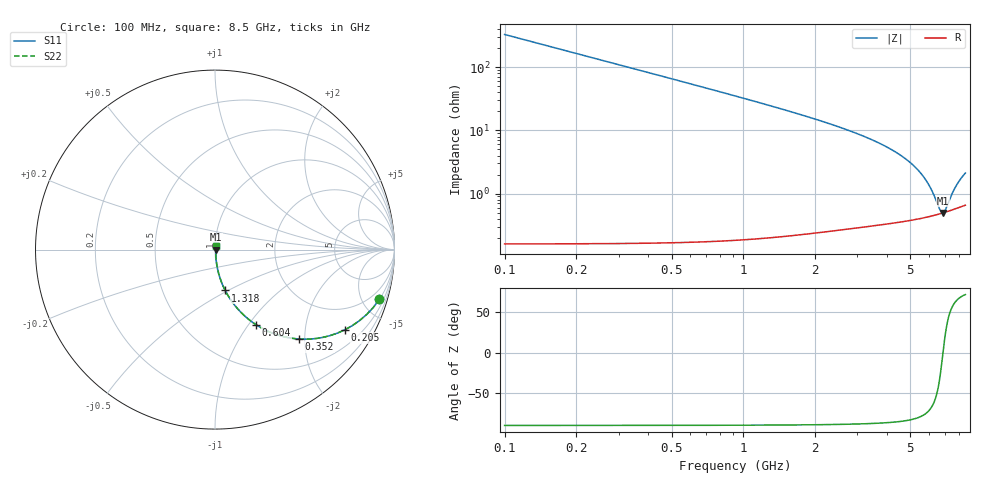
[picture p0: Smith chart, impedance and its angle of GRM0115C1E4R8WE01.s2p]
!Murata Part Number: GRM0115C1E4R8WE01
!These Parameters are Measured in Series Mode Connection
!Data Generated on Mar 30, 2021
!  o--ll--o
!Port1  Port2
!  o------o
!Operation Temp=25[degC], DC Bias Voltage=0[V]
!Freq. Start=100[MHz] Stop=9[GHz] 401[Steps]
# Hz S RI R 50
!Freq.(Hz) S11(Real) S11(Imag) S21(Real) S21(Imag) S12(Real) S12(Imag) S22(Real) S22(Imag)
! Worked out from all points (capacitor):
!   401 points, 100 MHz to 8.5 GHz, reference 50 ohm
!   read as one part in series: C = 4.8 pF near 142 MHz
!   lowest |Z| = 492 mohm at 6.82 GHz (marker M1)
!   series resonance near 6.848 GHz, so ESL is about 110 pH
!   S11 on the Smith chart (normalised r, x): 100 MHz: 1.00, -6.63; 205 MHz: 1.00, -3.23; 352 MHz: 1.00, -1.88; 604 MHz: 1.00, -1.09; 1.318 GHz: 1.00, -0.48; 8.5 GHz: 1.01, +0.04
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1e8  0.9165 -0.2764  0.0835 0.2764  0.0835 0.2764  0.9165 -0.2764
2.05e8  0.7229 -0.4471  0.2771 0.4471  0.2771 0.4471  0.7229 -0.4471
2.68e8  0.6039 -0.4884  0.3961 0.4884  0.3961 0.4884  0.6039 -0.4884
3.52e8  0.4688 -0.4982  0.5312 0.4982  0.5312 0.4982  0.4688 -0.4982
4.78e8  0.3229 -0.4664  0.6771 0.4664  0.6771 0.4664  0.3229 -0.4664
6.04e8  0.2293 -0.4188  0.7707 0.4188  0.7707 0.4188  0.2293 -0.4188
8.98e8  0.1173 -0.3193  0.8827 0.3193  0.8827 0.3193  0.1173 -0.3193
1.318e9  0.0568 -0.2274  0.9432 0.2274  0.9432 0.2274  0.0568 -0.2274
1.507e9  0.0436 -0.1992  0.9564 0.1992  0.9564 0.1992  0.0436 -0.1992
2.914e9  0.0112 -0.0912  0.9888 0.0912  0.9888 0.0912  0.0112 -0.0912
4.3e9  0.00552 -0.0458  0.9945 0.0458  0.9945 0.0458  0.00552 -0.0458
5.098e9  0.00459 -0.0284  0.9954 0.0284  0.9954 0.0284  0.00459 -0.0284
5.707e9  0.00441 -0.0174  0.9956 0.0174  0.9956 0.0174  0.00441 -0.0174
6.127e9  0.00448 -0.0105  0.9955 0.0105  0.9955 0.0105  0.00448 -0.0105
6.652e9  0.00476 -0.00273  0.9952 0.00273  0.9952 0.00273  0.00476 -0.00273
6.82e9  0.00488 -0.00038  0.9951 0.00038  0.9951 0.00038  0.00488 -0.00038
6.946e9  0.00499 0.00134  0.995 -0.00134  0.995 -0.00134  0.00499 0.00134
7.114e9  0.00515 0.00357  0.9949 -0.00357  0.9949 -0.00357  0.00515 0.00357
7.45e9  0.0055 0.00786  0.9945 -0.00786  0.9945 -0.00786  0.0055 0.00786
7.744e9  0.00586 0.0114  0.9941 -0.0114  0.9941 -0.0114  0.00586 0.0114
8.101e9  0.00633 0.0155  0.9937 -0.0155  0.9937 -0.0155  0.00633 0.0155
8.5e9  0.00689 0.0198  0.9931 -0.0198  0.9931 -0.0198  0.00689 0.0198
